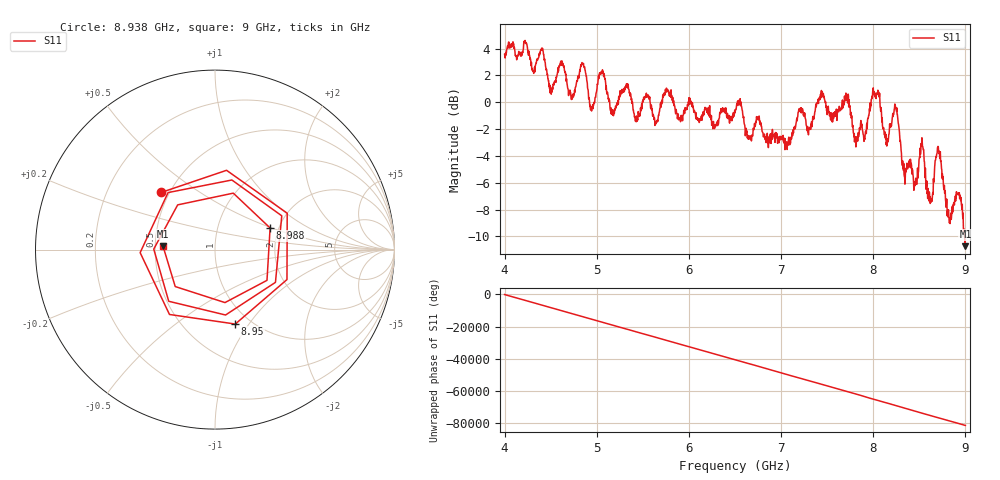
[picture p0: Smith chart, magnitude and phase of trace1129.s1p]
! Created with skrf 1.8.0 (http://scikit-rf.org).
# Hz S RI R 50.0
!freq ReS11 ImS11
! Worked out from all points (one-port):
!   1601 points, 4 GHz to 9 GHz, reference 50 ohm
!   lowest |S11| = -10.7 dB at 9 GHz (marker M1), VSWR 1.82, Z = 27.5 + j1.25 ohm
!   |S11| at or under -10 dB: 8.992644 GHz to end of sweep
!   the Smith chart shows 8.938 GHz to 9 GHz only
!   S11 on the Smith chart (normalised r, x): 8.938 GHz: 0.45, +0.36; 8.95 GHz: 0.85, -0.87; 8.988 GHz: 1.80, +0.49; 9 GHz: 0.55, +0.02
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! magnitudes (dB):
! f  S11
! 4 GHz  3.6
! 4.4 GHz  3.9
! 4.506 GHz  0.6
! 4.625 GHz  2.8
! 4.731 GHz  0.3
! 4.853 GHz  2.9
! 4.947 GHz  -0.5
! 5.053 GHz  2.3
! 5.166 GHz  -0.8
! 5.25 GHz  0.4
! 5.875 GHz  -1.2
! 6.5 GHz  -0.8
! 7.125 GHz  -2.5
! 7.434 GHz  0.7
! 7.75 GHz  -0.5
! 7.816 GHz  -3.0
! 8.012 GHz  0.5
! 8.144 GHz  -3.0
! 8.244 GHz  -0.4
! 8.375 GHz  -4.9
! 8.531 GHz  -2.9
! 8.625 GHz  -7.5
! 8.706 GHz  -3.3
! 8.825 GHz  -9.0
! 8.938 GHz  -7.2
! 8.95 GHz  -7.3
! 8.988 GHz  -9.6
! 9 GHz  -10.7
